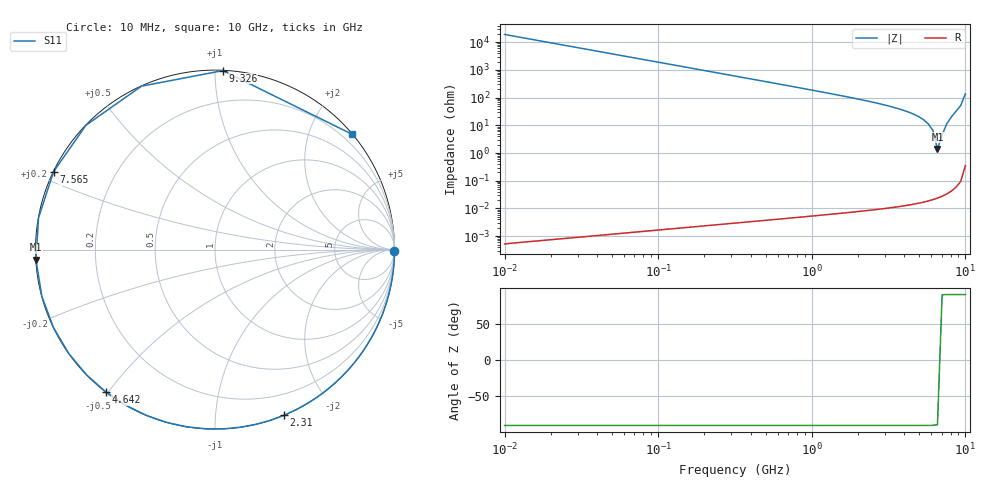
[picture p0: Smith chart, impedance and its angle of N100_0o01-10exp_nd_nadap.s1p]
! Sonnet Data File
! From: em Version : 18.56
! From Project: N100_0o01-10exp_nd_nadap
! Data is De-embedded
! Data File Written: 02/17/2023 14:33:46
!< HDATE 02/17/2023 13:46:58
!< MDATE 02/17/2023 13:46:58
# GHZ S MA R 50.00000
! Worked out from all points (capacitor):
!   100 points, 10 MHz to 10 GHz, reference 50 ohm
!   read as one part to ground: C = 838 fF near 10 MHz
!   lowest |Z| = 1.4 ohm at 6.579 GHz (marker M1)
!   series resonance near 6.693 GHz, so ESL is about 670 pH
!   S11 on the Smith chart (normalised r, x): 10 MHz: open; 2.31 GHz: 0.00, -1.50; 4.642 GHz: 0.00, -0.49; 7.565 GHz: 0.00, +0.23; 9.326 GHz: 0.00, +1.04; 10 GHz: 0.01, +2.74
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0.01  1 -0.3
0.02477076  1 -0.7
0.05722368  1 -1.7
0.1417474  1 -4.3
0.3274549  1 -9.9
0.4977024  1 -15.0
0.7564633  1 -22.7
1  1 -30.0
1.232847  1 -36.8
1.519911  1 -45.2
1.873817  0.9999 -55.3
2.31013  0.9999 -67.4
2.848036  0.9998 -81.9
3.274549  0.9998 -93.1
3.764936  0.9997 -105.6
4.328761  0.9996 -119.6
4.641589  0.9995 -127.4
4.977024  0.9995 -135.6
5.336699  0.9994 -144.6
5.722368  0.9993 -154.3
6.135907  0.9992 -164.9
6.579332  0.9991 -176.8
7.054802  0.9989 169.8
7.564633  0.9987 154.3
8.111308  0.9985 136.0
8.69749  0.9983 114.2
9.326033  0.9982 87.5
10  0.9983 40.1
